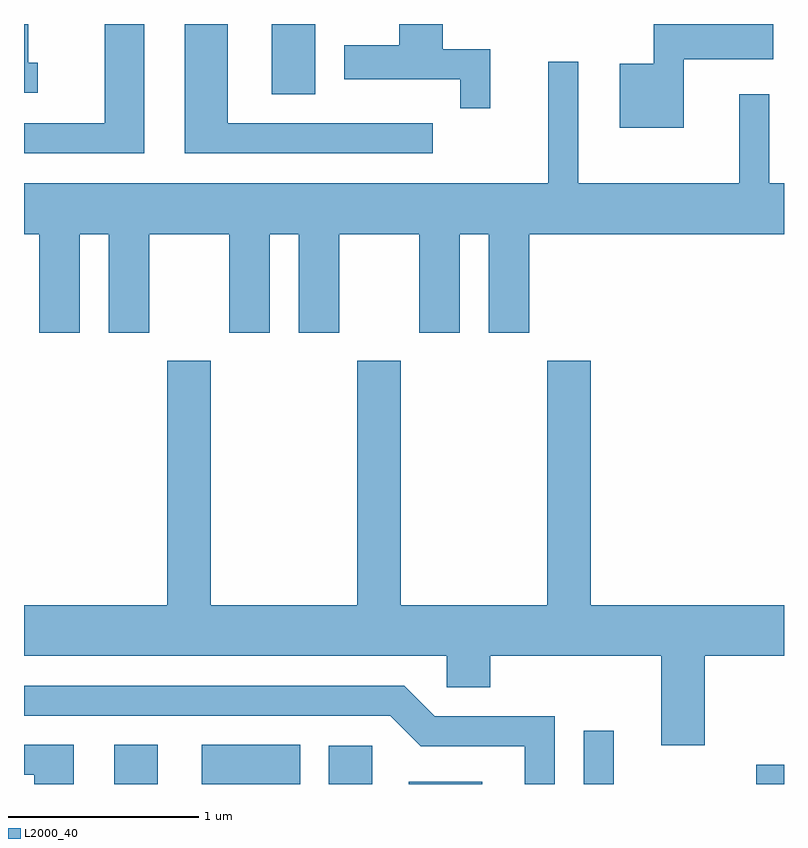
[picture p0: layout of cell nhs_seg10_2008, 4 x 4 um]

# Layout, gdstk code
import gdstk
lib = gdstk.Library(unit=1e-6, precision=1e-09)
def R(c, l, rs):  # rectangles x0, y0, x1, y1
    for r in rs: c.add(gdstk.rectangle(r[:2], r[2:], *l))
def P(c, l, *ps):  # polygons
    for p in ps: c.add(gdstk.Polygon(p, *l))
L2000_40 = (2000, 40)

nhs_seg10_2008 = lib.new_cell('nhs_seg10_2008')
R(nhs_seg10_2008, L2000_40, [(244.086,2166.522,244.314,2166.729), (244.546,2166.522,245.064,2166.729), (245.216,2166.522,245.444,2166.724), (245.636,2166.522,246.024,2166.534), (246.556,2166.522,246.714,2166.803), (247.466,2166.522,247.611,2166.624), (244.916,2170.151,245.144,2170.522)])
P(nhs_seg10_2008, L2000_40, [(243.683,2170.319),(243.634,2170.319),(243.634,2170.522),(243.611,2170.522),(243.611,2170.161),(243.683,2170.161)],
  [(246.064,2170.389),(245.814,2170.389),(245.814,2170.522),(245.586,2170.522),(245.586,2170.409),(245.296,2170.409),(245.296,2170.231),(245.906,2170.231),(245.906,2170.078),(246.064,2170.078)],
  [(244.244,2170.522),(244.036,2170.522),(244.036,2169.999),(243.611,2169.999),(243.611,2169.841),(244.244,2169.841)],
  [(245.763,2169.999),(244.684,2169.999),(244.684,2170.522),(244.456,2170.522),(244.456,2169.841),(245.763,2169.841)],
  [(247.084,2170.336),(247.554,2170.336),(247.554,2170.522),(246.926,2170.522),(246.926,2170.314),(246.746,2170.314),(246.746,2169.976),(247.084,2169.976)],
  [(243.904,2169.416),(244.056,2169.416),(244.056,2168.896),(244.269,2168.896),(244.269,2169.416),(244.691,2169.416),(244.691,2168.896),(244.904,2168.896),(244.904,2169.416),(245.056,2169.416),(245.056,2168.896),(245.269,2168.896),(245.269,2169.416),(245.691,2169.416),(245.691,2168.896),(245.904,2168.896),(245.904,2169.416),(246.056,2169.416),(246.056,2168.896),(246.269,2168.896),(246.269,2169.416),(247.611,2169.416),(247.611,2169.684),(247.534,2169.684),(247.534,2170.153),(247.376,2170.153),(247.376,2169.684),(246.529,2169.684),(246.529,2170.323),(246.371,2170.323),(246.371,2169.684),(243.611,2169.684),(243.611,2169.416),(243.691,2169.416),(243.691,2168.896),(243.904,2168.896)],
  [(247.194,2167.196),(247.611,2167.196),(247.611,2167.464),(246.594,2167.464),(246.594,2168.749),(246.366,2168.749),(246.366,2167.464),(245.594,2167.464),(245.594,2168.749),(245.366,2168.749),(245.366,2167.464),(244.594,2167.464),(244.594,2168.749),(244.366,2168.749),(244.366,2167.464),(243.611,2167.464),(243.611,2167.196),(245.836,2167.196),(245.836,2167.031),(246.064,2167.031),(246.064,2167.196),(246.966,2167.196),(246.966,2166.726),(247.194,2166.726)],
  [(246.404,2166.879),(245.772,2166.879),(245.612,2167.039),(243.611,2167.039),(243.611,2166.881),(245.539,2166.881),(245.699,2166.721),(246.246,2166.721),(246.246,2166.522),(246.404,2166.522)],
  [(243.874,2166.729),(243.611,2166.729),(243.611,2166.571),(243.666,2166.571),(243.666,2166.522),(243.874,2166.522)])

lib.write_gds('nhs_seg10_2008.gds')
